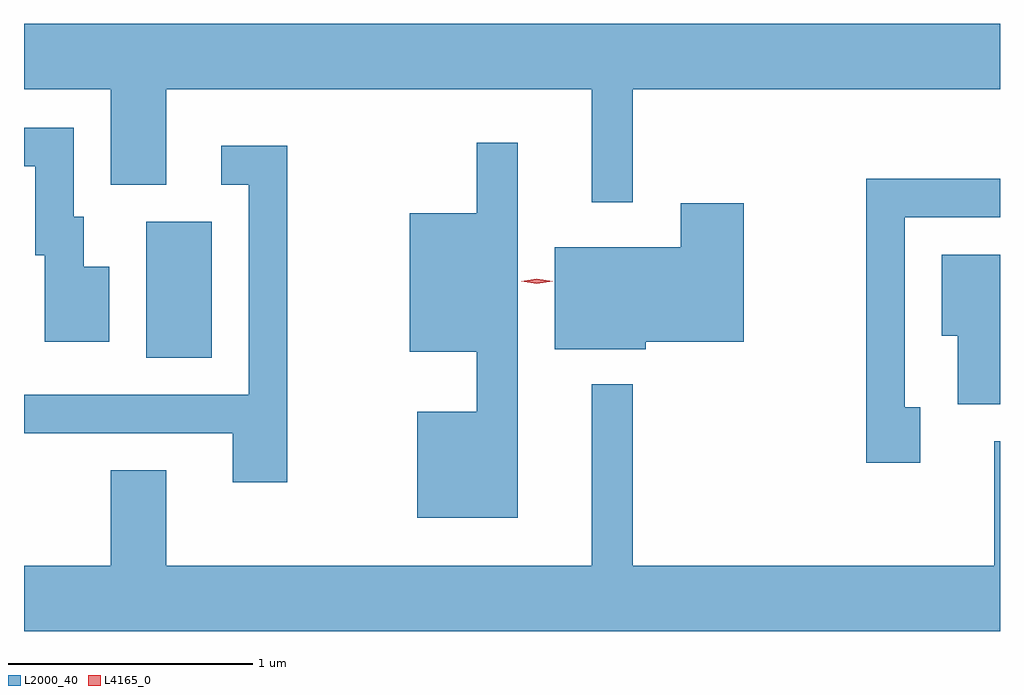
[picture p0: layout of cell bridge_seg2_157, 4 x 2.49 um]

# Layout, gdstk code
import gdstk
lib = gdstk.Library(unit=1e-6, precision=1e-09)
def R(c, l, rs):  # rectangles x0, y0, x1, y1
    for r in rs: c.add(gdstk.rectangle(r[:2], r[2:], *l))
def P(c, l, *ps):  # polygons
    for p in ps: c.add(gdstk.Polygon(p, *l))
L2000_40 = (2000, 40)
L4165_0 = (4165, 0)

bridge_seg2_157 = lib.new_cell('bridge_seg2_157')
R(bridge_seg2_157, L2000_40, [(679.276,1067.196,679.544,1067.754)])
P(bridge_seg2_157, L2000_40, [(681.269,1068.296),(682.775,1068.296),(682.775,1068.564),(678.775,1068.564),(678.775,1068.296),(679.131,1068.296),(679.131,1067.906),(679.359,1067.906),(679.359,1068.296),(681.101,1068.296),(681.101,1067.833),(681.269,1067.833)],
  [(679.124,1067.569),(679.019,1067.569),(679.019,1067.774),(678.979,1067.774),(678.979,1068.139),(678.775,1068.139),(678.775,1067.981),(678.821,1067.981),(678.821,1067.616),(678.861,1067.616),(678.861,1067.261),(679.124,1067.261)],
  [(680.799,1068.078),(680.631,1068.078),(680.631,1067.789),(680.356,1067.789),(680.356,1067.221),(680.631,1067.221),(680.631,1066.974),(680.386,1066.974),(680.386,1066.541),(680.799,1066.541)],
  [(679.854,1068.064),(679.583,1068.064),(679.583,1067.906),(679.696,1067.906),(679.696,1067.044),(678.775,1067.044),(678.775,1066.886),(679.631,1066.886),(679.631,1066.686),(679.854,1066.686)],
  [(682.449,1066.994),(682.384,1066.994),(682.384,1067.771),(682.775,1067.771),(682.775,1067.929),(682.226,1067.929),(682.226,1066.766),(682.449,1066.766)],
  [(681.324,1067.261),(681.724,1067.261),(681.724,1067.829),(681.466,1067.829),(681.466,1067.649),(680.951,1067.649),(680.951,1067.231),(681.324,1067.231)],
  [(682.775,1067.619),(682.536,1067.619),(682.536,1067.286),(682.601,1067.286),(682.601,1067.006),(682.775,1067.006)],
  [(682.775,1066.854),(682.751,1066.854),(682.751,1066.344),(681.269,1066.344),(681.269,1067.088),(681.101,1067.088),(681.101,1066.344),(679.359,1066.344),(679.359,1066.734),(679.131,1066.734),(679.131,1066.344),(678.775,1066.344),(678.775,1066.076),(682.775,1066.076)])
P(bridge_seg2_157, L4165_0, [(680.877,1067.5),(680.812,1067.51),(680.811,1067.51),(680.812,1067.51),(680.877,1067.52),(680.943,1067.51),(680.943,1067.51),(680.943,1067.51)])

lib.write_gds('bridge_seg2_157.gds')
